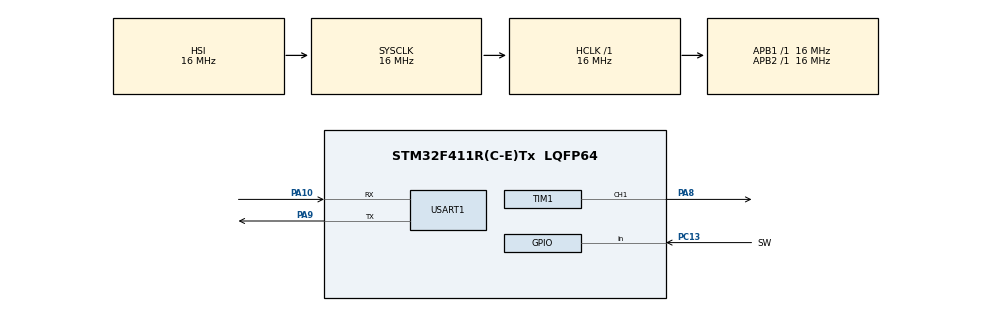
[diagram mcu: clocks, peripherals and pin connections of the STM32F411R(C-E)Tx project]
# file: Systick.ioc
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Mcu.Family=STM32F4
Mcu.Name=STM32F411R(C-E)Tx
Mcu.Package=LQFP64
NVIC.PriorityGroup=NVIC_PRIORITYGROUP_4
NVIC.USART1_IRQn=true\:0\:0\:false\:false\:true\:true\:true\:true
PA10.Mode=Asynchronous
PA10.Signal=USART1_RX
PA8.Signal=S_TIM1_CH1
PA9.Mode=Asynchronous
PA9.Signal=USART1_TX
PC13-ANTI_TAMP.GPIO_Label=SW
PC13-ANTI_TAMP.GPIO_PuPd=GPIO_PULLUP
PC13-ANTI_TAMP.Signal=GPIO_Input
ProjectManager.HeapSize=0x200
ProjectManager.StackSize=0x400
ProjectManager.TargetToolchain=STM32CubeIDE
RCC.AHBFreq_Value=16000000
RCC.APB1Freq_Value=16000000
RCC.APB2Freq_Value=16000000
RCC.CortexFreq_Value=16000000
RCC.HSE_VALUE=25000000
RCC.HSI_VALUE=16000000
RCC.LSE_VALUE=32768
RCC.SYSCLKFreq_VALUE=16000000
RCC.VCOOutputFreq_Value=192000000
SH.S_TIM1_CH1.0=TIM1_CH1,PWM Generation1 CH1
TIM1.Channel-PWM\ Generation1\ CH1=TIM_CHANNEL_1
TIM1.Period=999
TIM1.Prescaler=15
TIM1.Pulse-PWM\ Generation1\ CH1=499
USART1.VirtualMode=VM_ASYNC
VP_TIM1_VS_ClockSourceINT.Mode=Internal
board=custom

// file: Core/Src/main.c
/* USER CODE BEGIN Header */
/**
 ******************************************************************************
 * @file           : main.c
 * @brief          : Main program body
 ******************************************************************************
 * @attention
 *
 * Copyright (c) 2023 STMicroelectronics.
 * All rights reserved.
 *
 * This software is licensed under terms that can be found in the LICENSE file
 * in the root directory of this software component.
 * If no LICENSE file comes with this software, it is provided AS-IS.
 *
 ******************************************************************************
 */
/* USER CODE END Header */
#include "main.h"

/* USER CODE BEGIN Includes */
#include "uart.h"
/* USER CODE END Includes */

TIM_HandleTypeDef htim1;

UART_HandleTypeDef huart1;

void SystemClock_Config(void);
static void MX_GPIO_Init(void);
static void MX_TIM1_Init(void);
static void MX_USART1_UART_Init(void);

/* USER CODE BEGIN 0 */
// 전역 변수를 사용하지 않는 방법 : 함수를 사용.
/*int memory(int addr, int data, int RnW)
{
	static int buffer[256];
	int result;
	if(RnW)
	{
		result = buffer[addr];
	}
	else
	{
		buffer[addr] = data;
	}
	return result;
}*/

// 전역변수를 사용하지 않기 위한 구조체.
typedef struct{
	int taskA;
	int taskB;
	uint32_t bufferSwitch;
	uint8_t stateSwitch;
}system_t;

system_t wSystem;

// 동작주기용 변수
int taskA;
int taskB;

// 스위치용 변수
uint32_t bufferSwitch; // 스위치의 상태를 1ms마다 저장.
uint8_t stateSwitch; // 스위치의 상태를 결정.

// 1ms마다 호출.
void callbackSystick()
{
	// 스위치 채터링 제거
	wSystem.bufferSwitch = wSystem.bufferSwitch << 1;
	wSystem.bufferSwitch += HAL_GPIO_ReadPin(SW_GPIO_Port, SW_Pin);
	if (wSystem.bufferSwitch == 0)
		wSystem.stateSwitch = 0;
	if (wSystem.bufferSwitch == 0xffffffff)
		wSystem.stateSwitch = 1;

	//동작 주기 카운트
	if (wSystem.taskA > 0)
		wSystem.taskA--;
	if (wSystem.taskB > 0)
		wSystem.taskB--;
}

void enableBuzzer()
{
	HAL_TIM_PWM_Start(&htim1, TIM_CHANNEL_1);
}
void disableBuzzer()
{
	HAL_TIM_PWM_Stop(&htim1, TIM_CHANNEL_1);
}
/* USER CODE END 0 */

int main(void)
{

	/* MCU Configuration--------------------------------------------------------*/

	/* Reset of all peripherals, Initializes the Flash interface and the Systick. */
	HAL_Init();

	/* Configure the system clock */
	SystemClock_Config();

	/* Initialize all configured peripherals */
	MX_GPIO_Init();
	MX_TIM1_Init();
	MX_USART1_UART_Init();
	/* USER CODE BEGIN 2 */
	int count = 0;
	/* USER CODE END 2 */

	/* Infinite loop */
	while (1)
	{

		/* USER CODE BEGIN 3 */
		static int oldSwitch, curSwitch;
		curSwitch = stateSwitch;

		if (oldSwitch != curSwitch)
		{
			if (curSwitch == 0)
			{
				// 스위치 누름
				count++;
				printf("count = %d\n", count);
			}
			else
			{
				// 스위치를 놓음
			}
			oldSwitch = curSwitch;
		}

		// task A
		if (wSystem.taskA == 0)
		{
			wSystem.taskA = 1300; // taskA의 실행 주기를 ms단위로 기록
			if (count > 0)
			{
				count--;
				printf("count = %d\n", count);
			}
		}
		// task B
		if (wSystem.taskB == 0)
		{
			wSystem.taskB = 100; // taskB의 실행 주기를 ms단위로 기록
			static _Bool flagStateBuzzer;
			flagStateBuzzer ^= 1; // ^= : XOR. 반전이 일어남.
			flagStateBuzzer == 0 ? enableBuzzer() : disableBuzzer(); // ? 참일 때 실행할 코드 : 거짓일 때 실행할 코드
			// TODO 다음에 수정할 코드입니다.
		}

		/*if (HAL_GPIO_ReadPin(SW_GPIO_Port, SW_Pin) == 0)
		 {
		 while(HAL_GPIO_ReadPin(SW_GPIO_Port, SW_Pin) == 0);
		 HAL_Delay(20);
		 count++;
		 printf("count = %d\n", count);
		 }*/
	}
	/* USER CODE END 3 */
}

void SystemClock_Config(void)
{
	RCC_OscInitTypeDef RCC_OscInitStruct =
	{ 0 };
	RCC_ClkInitTypeDef RCC_ClkInitStruct =
	{ 0 };

	/** Configure the main internal regulator output voltage
	 */
	__HAL_RCC_PWR_CLK_ENABLE();
	__HAL_PWR_VOLTAGESCALING_CONFIG(PWR_REGULATOR_VOLTAGE_SCALE1);

	/** Initializes the RCC Oscillators according to the specified parameters
	 * in the RCC_OscInitTypeDef structure.
	 */
	RCC_OscInitStruct.OscillatorType = RCC_OSCILLATORTYPE_HSI;
	RCC_OscInitStruct.HSIState = RCC_HSI_ON;
	RCC_OscInitStruct.HSICalibrationValue = RCC_HSICALIBRATION_DEFAULT;
	RCC_OscInitStruct.PLL.PLLState = RCC_PLL_NONE;
	if (HAL_RCC_OscConfig(&RCC_OscInitStruct) != HAL_OK)
	{
		Error_Handler();
	}

	/** Initializes the CPU, AHB and APB buses clocks
	 */
	RCC_ClkInitStruct.ClockType = RCC_CLOCKTYPE_HCLK | RCC_CLOCKTYPE_SYSCLK
			| RCC_CLOCKTYPE_PCLK1 | RCC_CLOCKTYPE_PCLK2;
	RCC_ClkInitStruct.SYSCLKSource = RCC_SYSCLKSOURCE_HSI;
	RCC_ClkInitStruct.AHBCLKDivider = RCC_SYSCLK_DIV1;
	RCC_ClkInitStruct.APB1CLKDivider = RCC_HCLK_DIV1;
	RCC_ClkInitStruct.APB2CLKDivider = RCC_HCLK_DIV1;

	if (HAL_RCC_ClockConfig(&RCC_ClkInitStruct, FLASH_LATENCY_0) != HAL_OK)
	{
		Error_Handler();
	}
}

static void MX_TIM1_Init(void)
{

	TIM_ClockConfigTypeDef sClockSourceConfig =
	{ 0 };
	TIM_MasterConfigTypeDef sMasterConfig =
	{ 0 };
	TIM_OC_InitTypeDef sConfigOC =
	{ 0 };
	TIM_BreakDeadTimeConfigTypeDef sBreakDeadTimeConfig =
	{ 0 };

	htim1.Instance = TIM1;
	htim1.Init.Prescaler = 15;
	htim1.Init.CounterMode = TIM_COUNTERMODE_UP;
	htim1.Init.Period = 999;
	htim1.Init.ClockDivision = TIM_CLOCKDIVISION_DIV1;
	htim1.Init.RepetitionCounter = 0;
	htim1.Init.AutoReloadPreload = TIM_AUTORELOAD_PRELOAD_DISABLE;
	if (HAL_TIM_Base_Init(&htim1) != HAL_OK)
	{
		Error_Handler();
	}
	sClockSourceConfig.ClockSource = TIM_CLOCKSOURCE_INTERNAL;
	if (HAL_TIM_ConfigClockSource(&htim1, &sClockSourceConfig) != HAL_OK)
	{
		Error_Handler();
	}
	if (HAL_TIM_PWM_Init(&htim1) != HAL_OK)
	{
		Error_Handler();
	}
	sMasterConfig.MasterOutputTrigger = TIM_TRGO_RESET;
	sMasterConfig.MasterSlaveMode = TIM_MASTERSLAVEMODE_DISABLE;
	if (HAL_TIMEx_MasterConfigSynchronization(&htim1, &sMasterConfig) != HAL_OK)
	{
		Error_Handler();
	}
	sConfigOC.OCMode = TIM_OCMODE_PWM1;
	sConfigOC.Pulse = 499;
	sConfigOC.OCPolarity = TIM_OCPOLARITY_HIGH;
	sConfigOC.OCNPolarity = TIM_OCNPOLARITY_HIGH;
	sConfigOC.OCFastMode = TIM_OCFAST_DISABLE;
	sConfigOC.OCIdleState = TIM_OCIDLESTATE_RESET;
	sConfigOC.OCNIdleState = TIM_OCNIDLESTATE_RESET;
	if (HAL_TIM_PWM_ConfigChannel(&htim1, &sConfigOC, TIM_CHANNEL_1) != HAL_OK)
	{
		Error_Handler();
	}
	sBreakDeadTimeConfig.OffStateRunMode = TIM_OSSR_DISABLE;
	sBreakDeadTimeConfig.OffStateIDLEMode = TIM_OSSI_DISABLE;
	sBreakDeadTimeConfig.LockLevel = TIM_LOCKLEVEL_OFF;
	sBreakDeadTimeConfig.DeadTime = 0;
	sBreakDeadTimeConfig.BreakState = TIM_BREAK_DISABLE;
	sBreakDeadTimeConfig.BreakPolarity = TIM_BREAKPOLARITY_HIGH;
	sBreakDeadTimeConfig.AutomaticOutput = TIM_AUTOMATICOUTPUT_DISABLE;
	if (HAL_TIMEx_ConfigBreakDeadTime(&htim1, &sBreakDeadTimeConfig) != HAL_OK)
	{
		Error_Handler();
	}
	HAL_TIM_MspPostInit(&htim1);

}

static void MX_USART1_UART_Init(void)
{

	huart1.Instance = USART1;
	huart1.Init.BaudRate = 115200;
	huart1.Init.WordLength = UART_WORDLENGTH_8B;
	huart1.Init.StopBits = UART_STOPBITS_1;
	huart1.Init.Parity = UART_PARITY_NONE;
	huart1.Init.Mode = UART_MODE_TX_RX;
	huart1.Init.HwFlowCtl = UART_HWCONTROL_NONE;
	huart1.Init.OverSampling = UART_OVERSAMPLING_16;
	if (HAL_UART_Init(&huart1) != HAL_OK)
	{
		Error_Handler();
	}

}

static void MX_GPIO_Init(void)
{
	GPIO_InitTypeDef GPIO_InitStruct =
	{ 0 };

	/* GPIO Ports Clock Enable */
	__HAL_RCC_GPIOC_CLK_ENABLE();
	__HAL_RCC_GPIOA_CLK_ENABLE();

	/*Configure GPIO pin : SW_Pin */
	GPIO_InitStruct.Pin = SW_Pin;
	GPIO_InitStruct.Mode = GPIO_MODE_INPUT;
	GPIO_InitStruct.Pull = GPIO_PULLUP;
	HAL_GPIO_Init(SW_GPIO_Port, &GPIO_InitStruct);

}

void Error_Handler(void)
{
	__disable_irq();
	while (1)
	{
	}
}
